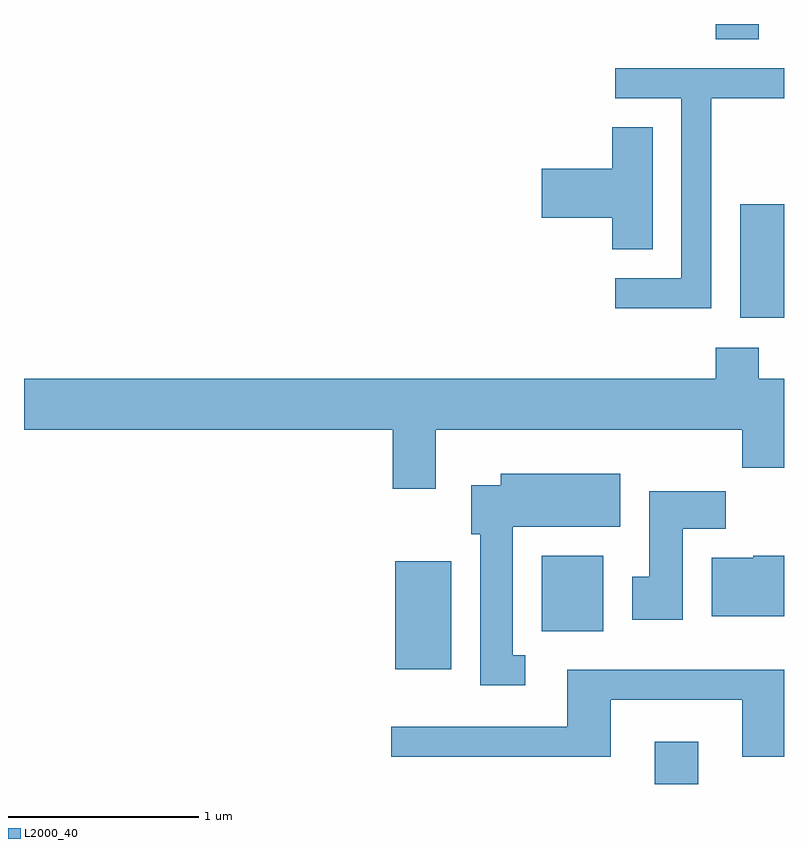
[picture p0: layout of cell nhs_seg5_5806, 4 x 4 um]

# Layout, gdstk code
import gdstk
lib = gdstk.Library(unit=1e-6, precision=1e-09)
def R(c, l, rs):  # rectangles x0, y0, x1, y1
    for r in rs: c.add(gdstk.rectangle(r[:2], r[2:], *l))
def P(c, l, *ps):  # polygons
    for p in ps: c.add(gdstk.Polygon(p, *l))
L2000_40 = (2000, 40)

nhs_seg5_5806 = lib.new_cell('nhs_seg5_5806')
R(nhs_seg5_5806, L2000_40, [(360.931,1426.072,361.159,1426.294), (359.566,1426.676,359.859,1427.244), (360.336,1426.876,360.659,1427.274), (361.381,1428.526,361.611,1429.124), (361.251,1429.991,361.479,1430.072)])
P(nhs_seg5_5806, L2000_40, [(361.229,1429.681),(361.611,1429.681),(361.611,1429.839),(360.723,1429.839),(360.723,1429.681),(361.071,1429.681),(361.071,1428.734),(360.723,1428.734),(360.723,1428.576),(361.229,1428.576)],
  [(360.919,1429.529),(360.706,1429.529),(360.706,1429.309),(360.336,1429.309),(360.336,1429.051),(360.706,1429.051),(360.706,1428.886),(360.919,1428.886)],
  [(359.779,1427.936),(361.391,1427.936),(361.391,1427.736),(361.611,1427.736),(361.611,1428.204),(361.479,1428.204),(361.479,1428.369),(361.251,1428.369),(361.251,1428.204),(357.611,1428.204),(357.611,1427.936),(359.551,1427.936),(359.551,1427.626),(359.779,1427.626)],
  [(360.248,1426.749),(360.184,1426.749),(360.184,1427.426),(360.749,1427.426),(360.749,1427.704),(360.121,1427.704),(360.121,1427.644),(359.966,1427.644),(359.966,1427.386),(360.011,1427.386),(360.011,1426.591),(360.248,1426.591)],
  [(361.079,1427.416),(361.304,1427.416),(361.304,1427.614),(360.901,1427.614),(360.901,1427.164),(360.811,1427.164),(360.811,1426.936),(361.079,1426.936)],
  [(361.611,1427.274),(361.45,1427.274),(361.45,1427.264),(361.231,1427.264),(361.231,1426.956),(361.611,1426.956)],
  [(360.699,1426.516),(361.391,1426.516),(361.391,1426.216),(361.611,1426.216),(361.611,1426.674),(360.471,1426.674),(360.471,1426.374),(359.543,1426.374),(359.543,1426.216),(360.699,1426.216)])

lib.write_gds('nhs_seg5_5806.gds')
